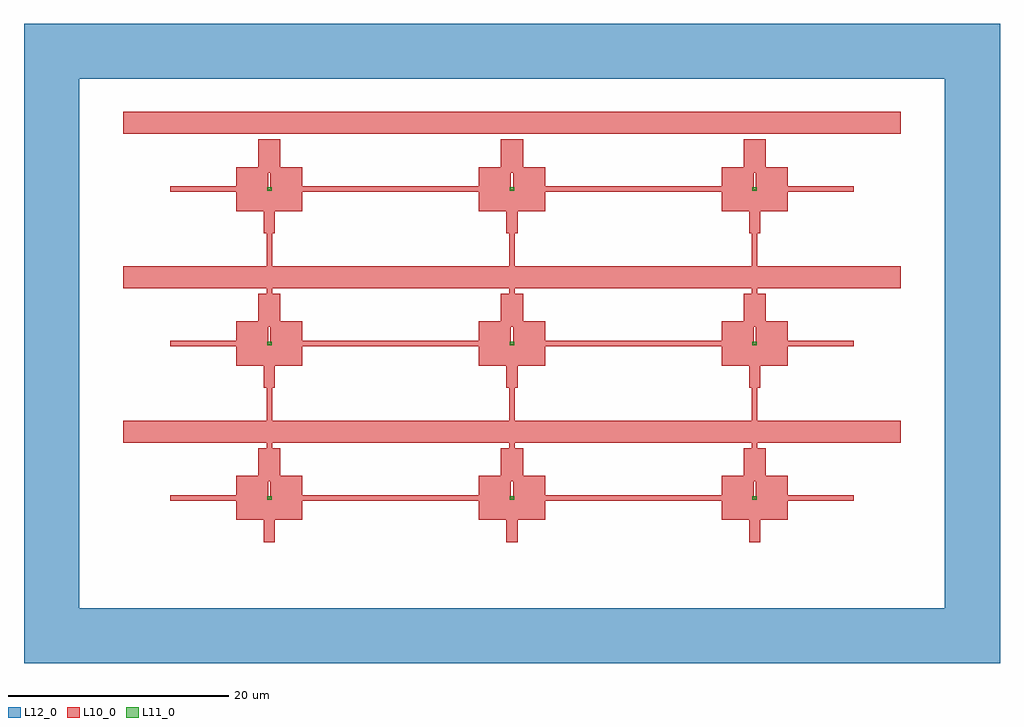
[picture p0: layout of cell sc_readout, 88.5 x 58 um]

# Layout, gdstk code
import gdstk
lib = gdstk.Library(unit=1e-6, precision=1e-09)
def R(c, l, rs):  # rectangles x0, y0, x1, y1
    for r in rs: c.add(gdstk.rectangle(r[:2], r[2:], *l))
def A(c, l, x, y, w, h, nx, ny, dx, dy):  # array of equal rectangles
    R(c, l, [(x+i*dx, y+j*dy, x+i*dx+w, y+j*dy+h) for i in range(nx) for j in range(ny)])
L10_0 = (10, 0)
L11_0 = (11, 0)
L12_0 = (12, 0)

sc_readout = lib.new_cell('sc_readout')
A(sc_readout, L10_0, -25, -16, 2.9, 4, 1, 3, 0, 14)
A(sc_readout, L10_0, -21.9, -16, 2.9, 4, 1, 3, 0, 14)
A(sc_readout, L10_0, -3, -16, 2.9, 4, 1, 3, 0, 14)
A(sc_readout, L10_0, 0.1, -16, 2.9, 4, 1, 3, 0, 14)
A(sc_readout, L10_0, 19, -16, 2.9, 4, 1, 3, 0, 14)
A(sc_readout, L10_0, 22.1, -16, 2.9, 4, 1, 3, 0, 14)
A(sc_readout, L10_0, -13.5, -14.25, 5, 0.5, 1, 3, 0, 14)
A(sc_readout, L10_0, 8.5, -14.25, 5, 0.5, 1, 3, 0, 14)
A(sc_readout, L10_0, -23, -12.5, 2, 3, 3, 3, 22, 14)
A(sc_readout, L10_0, -22.25, -12.5, 0.5, 11, 3, 2, 22, 14)
A(sc_readout, L11_0, -22.2, -14.15, 0.4, 0.3, 3, 3, 22, 14)
R(sc_readout, L12_0, [(-44.25,-29,44.25,-24), (-44.25,-29,-39.25,29), (39.25,-29,44.25,29), (-44.25,24,44.25,29)])
sc_readout.add(gdstk.FlexPath([(-25,-14),(-31,-14)], 0.5, ends="flush", simple_path=True, layer=10, datatype=0))  # L10_0
sc_readout.add(gdstk.FlexPath([(-19,-14),(-13,-14)], 0.5, ends="flush", simple_path=True, layer=10, datatype=0))  # L10_0
sc_readout.add(gdstk.FlexPath([(-3,-14),(-9,-14)], 0.5, ends="flush", simple_path=True, layer=10, datatype=0))  # L10_0
sc_readout.add(gdstk.FlexPath([(3,-14),(9,-14)], 0.5, ends="flush", simple_path=True, layer=10, datatype=0))  # L10_0
sc_readout.add(gdstk.FlexPath([(19,-14),(13,-14)], 0.5, ends="flush", simple_path=True, layer=10, datatype=0))  # L10_0
sc_readout.add(gdstk.FlexPath([(25,-14),(31,-14)], 0.5, ends="flush", simple_path=True, layer=10, datatype=0))  # L10_0
sc_readout.add(gdstk.FlexPath([(-25,0),(-31,0)], 0.5, ends="flush", simple_path=True, layer=10, datatype=0))  # L10_0
sc_readout.add(gdstk.FlexPath([(-19,0),(-13,0)], 0.5, ends="flush", simple_path=True, layer=10, datatype=0))  # L10_0
sc_readout.add(gdstk.FlexPath([(-3,0),(-9,0)], 0.5, ends="flush", simple_path=True, layer=10, datatype=0))  # L10_0
sc_readout.add(gdstk.FlexPath([(3,0),(9,0)], 0.5, ends="flush", simple_path=True, layer=10, datatype=0))  # L10_0
sc_readout.add(gdstk.FlexPath([(19,0),(13,0)], 0.5, ends="flush", simple_path=True, layer=10, datatype=0))  # L10_0
sc_readout.add(gdstk.FlexPath([(25,0),(31,0)], 0.5, ends="flush", simple_path=True, layer=10, datatype=0))  # L10_0
sc_readout.add(gdstk.FlexPath([(-25,14),(-31,14)], 0.5, ends="flush", simple_path=True, layer=10, datatype=0))  # L10_0
sc_readout.add(gdstk.FlexPath([(-19,14),(-13,14)], 0.5, ends="flush", simple_path=True, layer=10, datatype=0))  # L10_0
sc_readout.add(gdstk.FlexPath([(-3,14),(-9,14)], 0.5, ends="flush", simple_path=True, layer=10, datatype=0))  # L10_0
sc_readout.add(gdstk.FlexPath([(3,14),(9,14)], 0.5, ends="flush", simple_path=True, layer=10, datatype=0))  # L10_0
sc_readout.add(gdstk.FlexPath([(19,14),(13,14)], 0.5, ends="flush", simple_path=True, layer=10, datatype=0))  # L10_0
sc_readout.add(gdstk.FlexPath([(25,14),(31,14)], 0.5, ends="flush", simple_path=True, layer=10, datatype=0))  # L10_0
sc_readout.add(gdstk.FlexPath([(-35.25,-8),(35.25,-8)], 2, ends="flush", simple_path=True, layer=10, datatype=0))  # L10_0
sc_readout.add(gdstk.FlexPath([(-35.25,6),(35.25,6)], 2, ends="flush", simple_path=True, layer=10, datatype=0))  # L10_0
sc_readout.add(gdstk.FlexPath([(-35.25,20),(35.25,20)], 2, ends="flush", simple_path=True, layer=10, datatype=0))  # L10_0
sc_readout.add(gdstk.FlexPath([(-22,-14),(-22,-18)], 1, ends="flush", simple_path=True, layer=10, datatype=0))  # L10_0
sc_readout.add(gdstk.FlexPath([(0,-14),(0,-18)], 1, ends="flush", simple_path=True, layer=10, datatype=0))  # L10_0
sc_readout.add(gdstk.FlexPath([(22,-14),(22,-18)], 1, ends="flush", simple_path=True, layer=10, datatype=0))  # L10_0
sc_readout.add(gdstk.FlexPath([(-22,0),(-22,-4)], 1, ends="flush", simple_path=True, layer=10, datatype=0))  # L10_0
sc_readout.add(gdstk.FlexPath([(0,0),(0,-4)], 1, ends="flush", simple_path=True, layer=10, datatype=0))  # L10_0
sc_readout.add(gdstk.FlexPath([(22,0),(22,-4)], 1, ends="flush", simple_path=True, layer=10, datatype=0))  # L10_0
sc_readout.add(gdstk.FlexPath([(-22,14),(-22,10)], 1, ends="flush", simple_path=True, layer=10, datatype=0))  # L10_0
sc_readout.add(gdstk.FlexPath([(0,14),(0,10)], 1, ends="flush", simple_path=True, layer=10, datatype=0))  # L10_0
sc_readout.add(gdstk.FlexPath([(22,14),(22,10)], 1, ends="flush", simple_path=True, layer=10, datatype=0))  # L10_0

lib.write_gds('sc_readout.gds')
